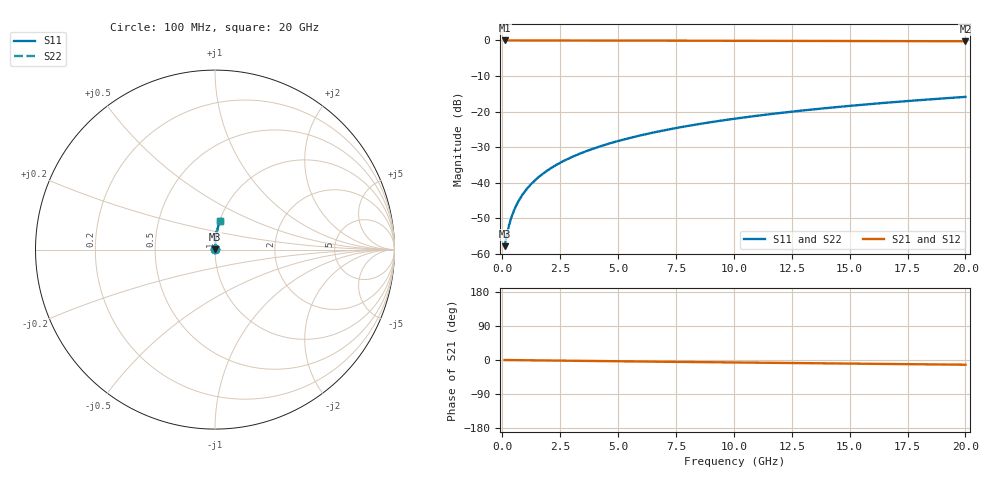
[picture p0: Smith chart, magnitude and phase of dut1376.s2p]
! Touchstone file exported from HFSS 2024.1.0
!  File:  C:/UserFiles/LocalFiles/RDL_TSV_Batchsim/temp_RDL_top_1376_1780367182.aedt
!  Generated:  10:28:38 AM Jun  2, 2026
!  Design:  RDL_top
!  Project:  temp_RDL_top_1376_1780367182
!  Setup:  Setup1
!  Solution:  Sweep
! Variables:
!  dtsv = 10.80580581um
!  hbump = 3um
!  htsv = 67.96um
!  ldown = 100um
!  lrdl = 122.86um
!  p = 40
!  p1 = 50.96um
!  rhole = 1um
!  t = 450um
!  tdown = 3.915915916um
!  trdl = 3.23um
!  wdown = 15.38538539um
!  wrdl = 16.95um
# GHz S MA R 50.000000
! Terminal data exported
! Port[1] = Box2_T1
! Port[2] = Box2_T2
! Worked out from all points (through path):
!   200 points, 100 MHz to 20 GHz, reference 50 ohm
!   highest |S21| = -0.01 dB at 100 MHz (marker M1); lowest = -0.2 dB at 20 GHz (marker M2)
!   group delay of S21, straight-line fit = 1.72 ps
!   lowest |S11| = -57.8 dB at 100 MHz (marker M3), VSWR 1.00, Z = 50.1 + j0.0802 ohm
!   |S11| at or under -10 dB: start of sweep to end of sweep
!   |S22| runs from -57.8 to -15.9 dB; largest |S21 - S12| = 3e-15
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0.1  0.001292 38.3  0.999 -0.1  0.999 -0.1  0.001292 38.3
! Gamma 0 0 0 0
! Port Impedance 50 0 50 0
0.2  0.0019 56.9  0.999 -0.1  0.999 -0.1  0.0019 56.9
0.3  0.0026 65.8  0.9989 -0.2  0.9989 -0.2  0.0026 65.8
0.4  0.003326 70.8  0.9989 -0.3  0.9989 -0.3  0.003326 70.8
0.5  0.00406 74.0  0.9988 -0.3  0.9988 -0.3  0.00406 74.0
0.6  0.004798 76.3  0.9988 -0.4  0.9988 -0.4  0.004798 76.3
0.8  0.006281 79.3  0.9987 -0.6  0.9987 -0.6  0.006281 79.3
1.1  0.008523 81.9  0.9986 -0.8  0.9986 -0.8  0.008523 81.9
1.5  0.01154 83.9  0.9985 -1.0  0.9985 -1.0  0.01154 83.9
1.8  0.01381 84.8  0.9983 -1.2  0.9983 -1.2  0.01381 84.8
2.1  0.0161 85.5  0.9981 -1.4  0.9981 -1.4  0.0161 85.5
2.7  0.0207 86.4  0.9977 -1.8  0.9977 -1.8  0.0207 86.4
3.5  0.02689 87.0  0.9971 -2.4  0.9971 -2.4  0.02689 87.0
4.2  0.03237 87.2  0.9964 -2.8  0.9964 -2.8  0.03237 87.2
5  0.03869 87.4  0.9955 -3.4  0.9955 -3.4  0.03869 87.4
5.9  0.04588 87.3  0.9944 -3.9  0.9944 -3.9  0.04588 87.3
6.8  0.05314 87.1  0.9933 -4.5  0.9933 -4.5  0.05314 87.1
8.3  0.06536 86.6  0.9912 -5.4  0.9912 -5.4  0.06536 86.6
10.1  0.08015 85.8  0.9887 -6.6  0.9887 -6.6  0.08015 85.8
13.4  0.1074 83.9  0.9838 -8.5  0.9838 -8.5  0.1074 83.9
16.7  0.1344 81.8  0.9788 -10.5  0.9788 -10.5  0.1344 81.8
20  0.1611 79.8  0.9734 -12.4  0.9734 -12.4  0.1611 79.8
